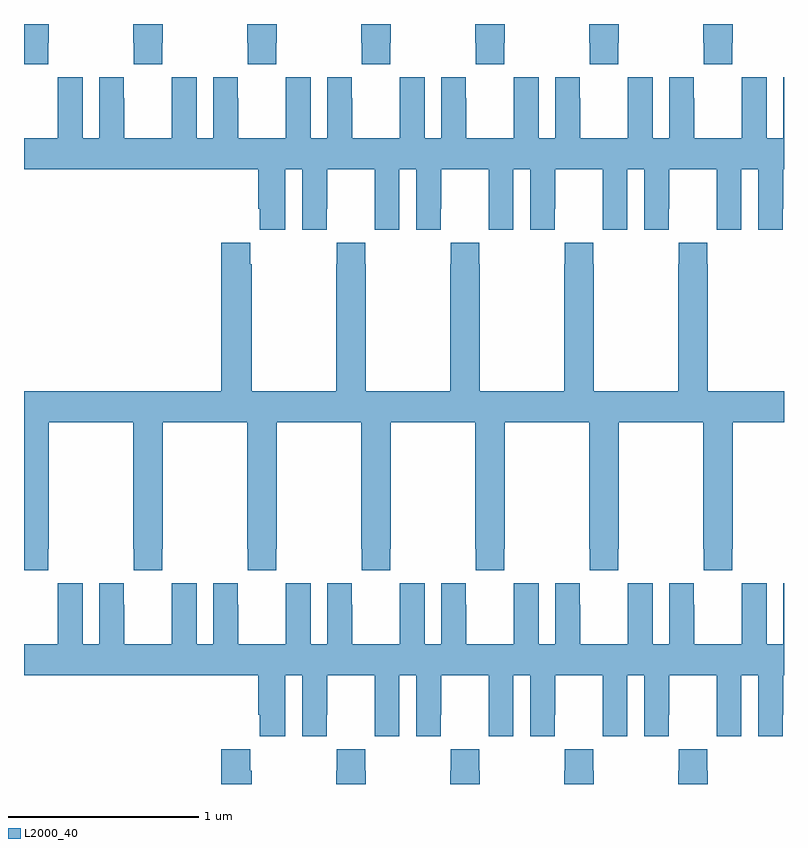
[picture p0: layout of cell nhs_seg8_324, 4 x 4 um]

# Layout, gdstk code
import gdstk
lib = gdstk.Library(unit=1e-6, precision=1e-09)
def P(c, l, *ps):  # polygons
    for p in ps: c.add(gdstk.Polygon(p, *l))
L2000_40 = (2000, 40)

nhs_seg8_324 = lib.new_cell('nhs_seg8_324')
P(nhs_seg8_324, L2000_40, [(134.727,1147.801),(134.73,1147.801),(134.73,1147.9),(134.575,1147.9),(134.575,1147.801),(134.577,1147.801),(134.577,1147.689),(134.727,1147.689)],
  [(134.127,1147.801),(134.13,1147.801),(134.13,1147.9),(133.975,1147.9),(133.975,1147.801),(133.977,1147.801),(133.977,1147.689),(134.127,1147.689)],
  [(133.527,1147.801),(133.53,1147.801),(133.53,1147.9),(133.375,1147.9),(133.375,1147.801),(133.377,1147.801),(133.377,1147.689),(133.527,1147.689)],
  [(132.927,1147.801),(132.93,1147.801),(132.93,1147.9),(132.775,1147.9),(132.775,1147.801),(132.777,1147.801),(132.777,1147.689),(132.927,1147.689)],
  [(132.327,1147.801),(132.33,1147.801),(132.33,1147.9),(132.175,1147.9),(132.175,1147.801),(132.177,1147.801),(132.177,1147.689),(132.327,1147.689)],
  [(131.727,1147.801),(131.73,1147.801),(131.73,1147.9),(131.575,1147.9),(131.575,1147.801),(131.577,1147.801),(131.577,1147.689),(131.727,1147.689)],
  [(131.127,1147.801),(131.13,1147.801),(131.13,1147.9),(131,1147.9),(131,1147.689),(131.127,1147.689)],
  [(133.927,1147.508),(133.926,1147.508),(133.926,1147.621),(133.796,1147.621),(133.796,1147.3),(133.708,1147.3),(133.708,1147.621),(133.578,1147.621),(133.578,1147.508),(133.577,1147.508),(133.577,1147.3),(133.327,1147.3),(133.327,1147.508),(133.326,1147.508),(133.326,1147.621),(133.196,1147.621),(133.196,1147.3),(133.108,1147.3),(133.108,1147.621),(132.978,1147.621),(132.978,1147.508),(132.977,1147.508),(132.977,1147.3),(132.727,1147.3),(132.727,1147.508),(132.726,1147.508),(132.726,1147.621),(132.596,1147.621),(132.596,1147.3),(132.508,1147.3),(132.508,1147.621),(132.378,1147.621),(132.378,1147.508),(132.377,1147.508),(132.377,1147.3),(132.127,1147.3),(132.127,1147.508),(132.126,1147.508),(132.126,1147.621),(131.996,1147.621),(131.996,1147.3),(131.908,1147.3),(131.908,1147.621),(131.778,1147.621),(131.778,1147.508),(131.777,1147.508),(131.777,1147.3),(131.527,1147.3),(131.527,1147.508),(131.526,1147.508),(131.526,1147.621),(131.396,1147.621),(131.396,1147.3),(131.308,1147.3),(131.308,1147.621),(131.178,1147.621),(131.178,1147.508),(131.177,1147.508),(131.177,1147.3),(131,1147.3),(131,1147.136),(132.233,1147.136),(132.233,1146.928),(132.242,1146.928),(132.242,1146.816),(132.376,1146.816),(132.376,1147.136),(132.464,1147.136),(132.464,1146.816),(132.594,1146.816),(132.594,1146.928),(132.595,1146.928),(132.595,1147.136),(132.845,1147.136),(132.845,1146.928),(132.846,1146.928),(132.846,1146.816),(132.976,1146.816),(132.976,1147.136),(133.064,1147.136),(133.064,1146.816),(133.194,1146.816),(133.194,1146.928),(133.195,1146.928),(133.195,1147.136),(133.445,1147.136),(133.445,1146.928),(133.446,1146.928),(133.446,1146.816),(133.576,1146.816),(133.576,1147.136),(133.664,1147.136),(133.664,1146.816),(133.794,1146.816),(133.794,1146.928),(133.795,1146.928),(133.795,1147.136),(134.045,1147.136),(134.045,1146.928),(134.046,1146.928),(134.046,1146.816),(134.176,1146.816),(134.176,1147.136),(134.264,1147.136),(134.264,1146.816),(134.394,1146.816),(134.394,1146.928),(134.395,1146.928),(134.395,1147.136),(134.645,1147.136),(134.645,1146.928),(134.646,1146.928),(134.646,1146.816),(134.776,1146.816),(134.776,1147.136),(134.864,1147.136),(134.864,1146.816),(134.994,1146.816),(134.994,1146.928),(134.995,1146.928),(134.995,1147.136),(135,1147.136),(135,1147.621),(134.996,1147.621),(134.996,1147.3),(134.908,1147.3),(134.908,1147.621),(134.778,1147.621),(134.778,1147.508),(134.777,1147.508),(134.777,1147.3),(134.527,1147.3),(134.527,1147.508),(134.526,1147.508),(134.526,1147.621),(134.396,1147.621),(134.396,1147.3),(134.308,1147.3),(134.308,1147.621),(134.178,1147.621),(134.178,1147.508),(134.177,1147.508),(134.177,1147.3),(133.927,1147.3)],
  [(131.127,1145.137),(131.13,1145.137),(131.13,1145.804),(131.575,1145.804),(131.575,1145.137),(131.577,1145.137),(131.577,1145.025),(131.727,1145.025),(131.727,1145.137),(131.73,1145.137),(131.73,1145.804),(132.175,1145.804),(132.175,1145.137),(132.177,1145.137),(132.177,1145.025),(132.327,1145.025),(132.327,1145.137),(132.33,1145.137),(132.33,1145.804),(132.775,1145.804),(132.775,1145.137),(132.777,1145.137),(132.777,1145.025),(132.927,1145.025),(132.927,1145.137),(132.93,1145.137),(132.93,1145.804),(133.375,1145.804),(133.375,1145.137),(133.377,1145.137),(133.377,1145.025),(133.527,1145.025),(133.527,1145.137),(133.53,1145.137),(133.53,1145.804),(133.975,1145.804),(133.975,1145.137),(133.977,1145.137),(133.977,1145.025),(134.127,1145.025),(134.127,1145.137),(134.13,1145.137),(134.13,1145.804),(134.575,1145.804),(134.575,1145.137),(134.577,1145.137),(134.577,1145.025),(134.727,1145.025),(134.727,1145.137),(134.73,1145.137),(134.73,1145.804),(135,1145.804),(135,1145.968),(134.598,1145.968),(134.598,1146.635),(134.595,1146.635),(134.595,1146.748),(134.445,1146.748),(134.445,1146.635),(134.443,1146.635),(134.443,1145.968),(133.998,1145.968),(133.998,1146.635),(133.995,1146.635),(133.995,1146.748),(133.845,1146.748),(133.845,1146.635),(133.843,1146.635),(133.843,1145.968),(133.398,1145.968),(133.398,1146.635),(133.395,1146.635),(133.395,1146.748),(133.245,1146.748),(133.245,1146.635),(133.243,1146.635),(133.243,1145.968),(132.798,1145.968),(132.798,1146.635),(132.795,1146.635),(132.795,1146.748),(132.645,1146.748),(132.645,1146.635),(132.643,1146.635),(132.643,1145.968),(132.198,1145.968),(132.198,1146.635),(132.191,1146.635),(132.191,1146.748),(132.038,1146.748),(132.038,1145.968),(131,1145.968),(131,1145.025),(131.127,1145.025)],
  [(133.927,1144.844),(133.926,1144.844),(133.926,1144.957),(133.796,1144.957),(133.796,1144.636),(133.708,1144.636),(133.708,1144.957),(133.578,1144.957),(133.578,1144.844),(133.577,1144.844),(133.577,1144.636),(133.327,1144.636),(133.327,1144.844),(133.326,1144.844),(133.326,1144.957),(133.196,1144.957),(133.196,1144.636),(133.108,1144.636),(133.108,1144.957),(132.978,1144.957),(132.978,1144.844),(132.977,1144.844),(132.977,1144.636),(132.727,1144.636),(132.727,1144.844),(132.726,1144.844),(132.726,1144.957),(132.596,1144.957),(132.596,1144.636),(132.508,1144.636),(132.508,1144.957),(132.378,1144.957),(132.378,1144.844),(132.377,1144.844),(132.377,1144.636),(132.127,1144.636),(132.127,1144.844),(132.126,1144.844),(132.126,1144.957),(131.996,1144.957),(131.996,1144.636),(131.908,1144.636),(131.908,1144.957),(131.778,1144.957),(131.778,1144.844),(131.777,1144.844),(131.777,1144.636),(131.527,1144.636),(131.527,1144.844),(131.526,1144.844),(131.526,1144.957),(131.396,1144.957),(131.396,1144.636),(131.308,1144.636),(131.308,1144.957),(131.178,1144.957),(131.178,1144.844),(131.177,1144.844),(131.177,1144.636),(131,1144.636),(131,1144.472),(132.233,1144.472),(132.233,1144.264),(132.242,1144.264),(132.242,1144.152),(132.376,1144.152),(132.376,1144.472),(132.464,1144.472),(132.464,1144.152),(132.594,1144.152),(132.594,1144.264),(132.595,1144.264),(132.595,1144.472),(132.845,1144.472),(132.845,1144.264),(132.846,1144.264),(132.846,1144.152),(132.976,1144.152),(132.976,1144.472),(133.064,1144.472),(133.064,1144.152),(133.194,1144.152),(133.194,1144.264),(133.195,1144.264),(133.195,1144.472),(133.445,1144.472),(133.445,1144.264),(133.446,1144.264),(133.446,1144.152),(133.576,1144.152),(133.576,1144.472),(133.664,1144.472),(133.664,1144.152),(133.794,1144.152),(133.794,1144.264),(133.795,1144.264),(133.795,1144.472),(134.045,1144.472),(134.045,1144.264),(134.046,1144.264),(134.046,1144.152),(134.176,1144.152),(134.176,1144.472),(134.264,1144.472),(134.264,1144.152),(134.394,1144.152),(134.394,1144.264),(134.395,1144.264),(134.395,1144.472),(134.645,1144.472),(134.645,1144.264),(134.646,1144.264),(134.646,1144.152),(134.776,1144.152),(134.776,1144.472),(134.864,1144.472),(134.864,1144.152),(134.994,1144.152),(134.994,1144.264),(134.995,1144.264),(134.995,1144.472),(135,1144.472),(135,1144.957),(134.996,1144.957),(134.996,1144.636),(134.908,1144.636),(134.908,1144.957),(134.778,1144.957),(134.778,1144.844),(134.777,1144.844),(134.777,1144.636),(134.527,1144.636),(134.527,1144.844),(134.526,1144.844),(134.526,1144.957),(134.396,1144.957),(134.396,1144.636),(134.308,1144.636),(134.308,1144.957),(134.178,1144.957),(134.178,1144.844),(134.177,1144.844),(134.177,1144.636),(133.927,1144.636)],
  [(134.598,1143.971),(134.595,1143.971),(134.595,1144.084),(134.445,1144.084),(134.445,1143.971),(134.443,1143.971),(134.443,1143.9),(134.598,1143.9)],
  [(133.998,1143.971),(133.995,1143.971),(133.995,1144.084),(133.845,1144.084),(133.845,1143.971),(133.843,1143.971),(133.843,1143.9),(133.998,1143.9)],
  [(133.398,1143.971),(133.395,1143.971),(133.395,1144.084),(133.245,1144.084),(133.245,1143.971),(133.243,1143.971),(133.243,1143.9),(133.398,1143.9)],
  [(132.198,1143.971),(132.191,1143.971),(132.191,1144.084),(132.038,1144.084),(132.038,1143.9),(132.198,1143.9)],
  [(132.798,1143.971),(132.795,1143.971),(132.795,1144.084),(132.645,1144.084),(132.645,1143.971),(132.643,1143.971),(132.643,1143.9),(132.798,1143.9)])

lib.write_gds('nhs_seg8_324.gds')
